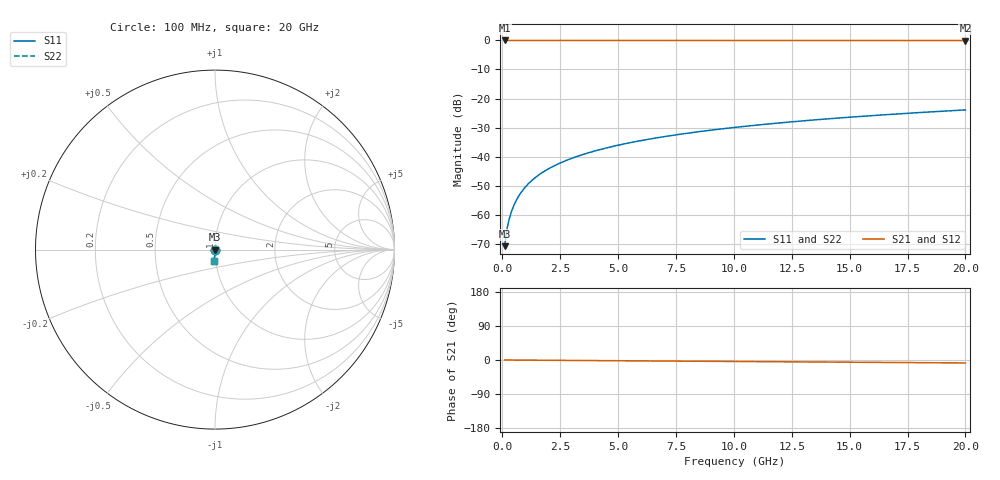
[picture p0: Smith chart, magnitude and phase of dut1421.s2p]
! Touchstone file exported from HFSS 2026.1.0
!  File:  C:/ffzhzh/LocalFiles/Ansys_Project_Files/temp_train_TSV_1421_1783197274_55132.aedt
!  Generated:  04:35:53 AM Jul  5, 2026
!  Design:  TSV
!  Project:  temp_train_TSV_1421_1783197274_55132
! Variables:
!  h_bsmrdl = 2um
!  h_ox = 20um
!  h_rdl = 5um
!  h_sub = 71.14um
!  h_tmrdl = 5um
!  h_tsv = 71.14um
!  h_via = 3um
!  l_bsmrdl = 300um
!  l_sub = 427.28um
!  l_tmrdl = 200um
!  m_sub = 200um
!  pitch = 36.61um
!  r_tsv = 13.64um
!  s_tmrdl = 10um
!  w_bsmrdl = 18um
!  w_sub = 500um
!  w_tmrdl = 12um
!  x_tsv_center1 = 206um
!  x_tsv_center2 = 524um
!  x_tsv_center3 = 736um
!  x_tsv_center4 = 1054um
!  x_tsv_center5 = 1266um
!  x_tsv_center6 = 1584um
# GHz S MA R 50.000000
! Terminal data exported
! Port[1] = TSV1_1_T1
! Port[2] = TSV1_1_T2
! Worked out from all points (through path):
!   200 points, 100 MHz to 20 GHz, reference 50 ohm
!   highest |S21| = 0.00 dB at 100 MHz (marker M1); lowest = 0.0 dB at 20 GHz (marker M2)
!   group delay of S21, straight-line fit = 1.07 ps
!   lowest |S11| = -70.9 dB at 100 MHz (marker M3), VSWR 1.00, Z = 50 - j0.0275 ohm
!   |S11| at or under -10 dB: start of sweep to end of sweep
!   |S22| runs from -70.9 to -23.9 dB; largest |S21 - S12| = 1.3e-14
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0.1  0.0002867 -73.3  0.9999 -0.0  0.9999 -0.0  0.0002867 -73.3
! Gamma 0 0 0 0
! Port Impedance 50 0 50 0
0.2  0.000562 -80.0  0.9999 -0.1  0.9999 -0.1  0.000562 -80.0
0.3  0.0008479 -82.0  0.9999 -0.1  0.9999 -0.1  0.0008479 -82.0
0.4  0.001142 -82.9  0.9999 -0.2  0.9999 -0.2  0.001142 -82.9
0.5  0.001444 -83.4  0.9998 -0.2  0.9998 -0.2  0.001444 -83.4
0.7  0.002063 -84.3  0.9998 -0.3  0.9998 -0.3  0.002063 -84.3
0.8  0.002376 -84.6  0.9998 -0.3  0.9998 -0.3  0.002376 -84.6
1  0.003008 -85.3  0.9997 -0.4  0.9997 -0.4  0.003008 -85.3
1.2  0.003641 -85.9  0.9997 -0.5  0.9997 -0.5  0.003641 -85.9
1.4  0.004275 -86.4  0.9997 -0.6  0.9997 -0.6  0.004275 -86.4
1.7  0.005226 -87.0  0.9996 -0.7  0.9996 -0.7  0.005226 -87.0
2  0.006176 -87.4  0.9996 -0.8  0.9996 -0.8  0.006176 -87.4
2.7  0.008392 -88.3  0.9996 -1.1  0.9996 -1.1  0.008392 -88.3
3.5  0.01093 -89.0  0.9995 -1.4  0.9995 -1.4  0.01093 -89.0
4.2  0.01315 -89.5  0.9994 -1.6  0.9994 -1.6  0.01315 -89.5
5  0.0157 -89.9  0.9993 -2.0  0.9993 -2.0  0.0157 -89.9
6.8  0.02145 -90.9  0.9991 -2.7  0.9991 -2.7  0.02145 -90.9
8.3  0.02625 -91.7  0.9989 -3.2  0.9989 -3.2  0.02625 -91.7
10.1  0.03202 -92.5  0.9987 -3.9  0.9987 -3.9  0.03202 -92.5
13.4  0.04258 -94.0  0.9982 -5.2  0.9982 -5.2  0.04258 -94.0
16.7  0.05313 -95.4  0.9976 -6.5  0.9976 -6.5  0.05313 -95.4
20  0.06366 -96.7  0.9968 -7.7  0.9968 -7.7  0.06366 -96.7
